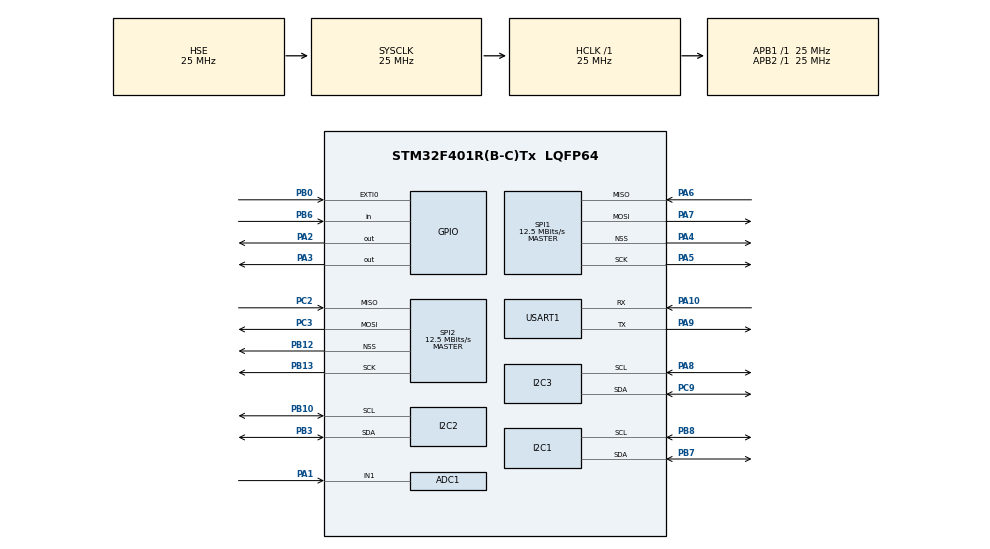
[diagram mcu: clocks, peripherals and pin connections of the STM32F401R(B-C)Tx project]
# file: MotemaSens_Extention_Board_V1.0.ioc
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ADC1.Channel-2\#ChannelRegularConversion=ADC_CHANNEL_1
ADC1.NbrOfConversionFlag=1
ADC1.Rank-2\#ChannelRegularConversion=1
ADC1.SamplingTime-2\#ChannelRegularConversion=ADC_SAMPLETIME_3CYCLES
ADC1.master=1
I2C1.I2C_Mode=I2C_Standard
Mcu.Family=STM32F4
Mcu.Name=STM32F401R(B-C)Tx
Mcu.Package=LQFP64
NVIC.PriorityGroup=NVIC_PRIORITYGROUP_4
PA1.Signal=ADCx_IN1
PA10.Mode=Asynchronous
PA10.Signal=USART1_RX
PA13.Mode=Serial_Wire
PA13.Signal=SYS_JTMS-SWDIO
PA14.Mode=Serial_Wire
PA14.Signal=SYS_JTCK-SWCLK
PA2.Signal=GPIO_Output
PA3.Signal=GPIO_Output
PA4.Mode=NSS_Signal_Hard_Output
PA4.Signal=SPI1_NSS
PA5.Mode=Full_Duplex_Master
PA5.Signal=SPI1_SCK
PA6.Mode=Full_Duplex_Master
PA6.Signal=SPI1_MISO
PA7.Mode=Full_Duplex_Master
PA7.Signal=SPI1_MOSI
PA8.Mode=I2C
PA8.Signal=I2C3_SCL
PA9.Mode=Asynchronous
PA9.Signal=USART1_TX
PB0.Signal=GPXTI0
PB10.Mode=I2C
PB10.Signal=I2C2_SCL
PB12.Mode=NSS_Signal_Hard_Output
PB12.Signal=SPI2_NSS
PB13.Mode=Full_Duplex_Master
PB13.Signal=SPI2_SCK
PB3.Mode=I2C
PB3.Signal=I2C2_SDA
PB6.GPIO_PuPd=GPIO_PULLDOWN
PB6.Mode=GPIO_Input
PB6.Signal=GPIO_Input
PB7.Mode=I2C
PB7.Signal=I2C1_SDA
PB8.Mode=I2C
PB8.Signal=I2C1_SCL
PC2.Mode=Full_Duplex_Master
PC2.Signal=SPI2_MISO
PC3.Mode=Full_Duplex_Master
PC3.Signal=SPI2_MOSI
PC9.Mode=I2C
PC9.Signal=I2C3_SDA
PH0\ -\ OSC_IN.Mode=HSE-External-Oscillator
PH0\ -\ OSC_IN.Signal=RCC_OSC_IN
PH1\ -\ OSC_OUT.Mode=HSE-External-Oscillator
PH1\ -\ OSC_OUT.Signal=RCC_OSC_OUT
ProjectManager.HeapSize=0x200
ProjectManager.StackSize=0x400
ProjectManager.TargetToolchain=MDK-ARM V5
RCC.48MHZClocksFreq_Value=48000000
RCC.AHBFreq_Value=25000000
RCC.APB1Freq_Value=25000000
RCC.APB1TimFreq_Value=25000000
RCC.APB2Freq_Value=25000000
RCC.APB2TimFreq_Value=25000000
RCC.CortexFreq_Value=25000000
RCC.HCLKFreq_Value=25000000
RCC.HSE_VALUE=25000000
RCC.HSI_VALUE=16000000
RCC.LSE_VALUE=32768
RCC.PLLM=15
RCC.PLLN=144
RCC.PLLQ=5
RCC.PLLSourceVirtual=RCC_PLLSOURCE_HSE
RCC.SYSCLKFreq_VALUE=25000000
RCC.SYSCLKSource=RCC_SYSCLKSOURCE_HSE
RCC.VCOOutputFreq_Value=240000000
SH.ADCx_IN1.0=ADC1_IN1,IN1
SPI1.BaudRatePrescaler=SPI_BAUDRATEPRESCALER_2
SPI1.CalculateBaudRate=12.5 MBits/s
SPI1.Direction=SPI_DIRECTION_2LINES
SPI1.Mode=SPI_MODE_MASTER
SPI1.VirtualNSS=VM_NSSHARD
SPI1.VirtualType=VM_MASTER
SPI2.CalculateBaudRate=12.5 MBits/s
SPI2.Direction=SPI_DIRECTION_2LINES
SPI2.Mode=SPI_MODE_MASTER
SPI2.VirtualNSS=VM_NSSHARD
SPI2.VirtualType=VM_MASTER
USART1.VirtualMode=VM_ASYNC
board=custom

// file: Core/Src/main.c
/* USER CODE BEGIN Header */
/**
  ******************************************************************************
  * @file           : main.c
  * @brief          : Main program body
  ******************************************************************************
  * @attention
  *
  * Copyright (c) 2026 STMicroelectronics.
  * All rights reserved.
  *
  * This software is licensed under terms that can be found in the LICENSE file
  * in the root directory of this software component.
  * If no LICENSE file comes with this software, it is provided AS-IS.
  *
  ******************************************************************************
  */
/* USER CODE END Header */
#include "main.h"
#include "adc.h"
#include "i2c.h"
#include "spi.h"
#include "usart.h"
#include "gpio.h"

/* USER CODE BEGIN Includes */
#include <stdio.h>
#include <string.h>
#include "bsp_max30102.h"
#include "bsp_spi_oled.h"
#include "bsp_gd60932.h"
#include "bsp_sd_spi.h"
#include "bsp_sd_log.h"
#include "algorithm.h"
/* USER CODE END Includes */

/* USER CODE BEGIN PD */
/* 12s 周期：0~10s PPG（LED 开）→ 10~12s 关 LED，读体温、刷新显示、写 SD。
 * 12s cycle: 0~10s PPG (LED on) -> 10~12s LED off, read temp, refresh display, write SD.
 * PPG 相位 10s 覆盖 ~2 个呼吸周期，离线验证可显著降低 SpO2 RMSE（见 algorithm.h）。
 * 10s PPG phase covers ~2 breath cycles; offline validation lowers SpO2 RMSE (see algorithm.h). */
#define APP_MEAS_CYCLE_MS              12000U
#define APP_PPG_PHASE_MS               10000U
#define APP_POST_PHASE_MS              (APP_MEAS_CYCLE_MS - APP_PPG_PHASE_MS)
/* MAX30102 原始幅值（18 位有效）：约 <5000 偏弱，>80000 易饱和，见 bsp_max30102 注释
 * MAX30102 raw amplitude (18-bit): <5000 weak, >80000 saturates; see bsp_max30102 comments */
#define APP_PPG_WEAK_MAX               5000U
#define APP_PPG_STRONG_MIN             80000U
/* 红/红外 LED 电流档位(0x00~0xFF)。在 0x14 基础上再略降一档（AGC 初始/回退值）
 * Red/IR LED current level (0x00~0xFF); one step below 0x14 (AGC initial/fallback) */
#define APP_MAX30102_LED_RED           0x13U
#define APP_MAX30102_LED_IR            0x13U

/* 软件 AGC：红=红外电流等比伺服，把 IR 的 DC 拉回标定工作点(~25000)。
 * Software AGC: equal red/IR current servo pulls IR DC to calibration setpoint (~25000).
 * 等比缩放不改变 DC_rd/DC_ir，故 R 与 SpO2 标定仍有效；仅补偿跨会话耦合/贴合差异。
 * Proportional scaling preserves DC_rd/DC_ir, so R/SpO2 calibration stays valid; compensates coupling/contact drift.
 * 死区较宽，良好耦合(20k~32k)时不动，避免抖动；越界才逐步调整。
 * Wide deadband: no change when coupled well (20k~32k); step adjust only when out of range. */
#define APP_AGC_ENABLE                 1
#define APP_AGC_DC_TARGET              25000U   /* 目标 IR DC（=标定工作点）/ target IR DC (=cal setpoint) */
#define APP_AGC_DC_LO                  20000U   /* 死区下限：低于则加大电流 / deadband low: increase current if below */
#define APP_AGC_DC_HI                  32000U   /* 死区上限：高于则减小电流 / deadband high: decrease current if above */
#define APP_AGC_LED_MIN                0x0AU    /* 电流下限(~2mA) / min current (~2mA) */
#define APP_AGC_LED_MAX                0x40U    /* 电流上限(~12.8mA)，确保红光(耦合更高)不饱和 / max (~12.8mA), avoid red saturation */
#define APP_AGC_MAX_STEP               6        /* 每周期最大调整步长，防止过冲/振荡 / max step per cycle, anti-overshoot */
/* PB6 接 3.3V 判为关机请求的去抖时间（内部下拉，悬空为低）
 * PB6 debounce when tied to 3.3V = shutdown request (internal pull-down, floating = low) */
#define APP_PWR_SW_DEBOUNCE_MS         80U
/* 血氧阶段结束时至少多少点才调用算法（不必凑满 BUFFER_SIZE）
 * Min samples at end of SpO2 phase before running algorithm (need not fill BUFFER_SIZE) */
#define APP_PPG_MIN_SAMPLES            100U
/* FIFO 读循环中每隔多少点刷新一次 OLED（减轻主循环负担）
 * OLED refresh interval in FIFO read loop (reduces main-loop load) */
#define APP_PPG_OLED_UPDATE_INTERVAL   8U
/* USER CODE END PD */

/* USER CODE BEGIN PV */
static uint32_t g_ir_buffer[BUFFER_SIZE];
static uint32_t g_red_buffer[BUFFER_SIZE];
static int32_t g_heart_rate = 0;
static int8_t g_hr_valid = 0;
static int32_t g_spo2 = 0;
static int8_t g_spo2_valid = 0;
static float g_body_temp = 0.0f;
static uint8_t g_body_temp_valid = 0U;
static uint32_t s_meas_cycle_t0 = 0U;
static uint8_t s_cycle_led_off_done = 0U;
static uint8_t s_cycle_temp_done = 0U;
static uint8_t s_spo2_computed_this_cycle = 0U;
static uint32_t s_last_ir_sample = 0U;
static uint32_t s_pwr_high_since = 0U;
static uint8_t s_meas_resync_after_stop_wakeup = 0U;
static uint32_t s_cycle_index = 0U;
static uint16_t s_cycle_ppg_count = 0U;
static uint8_t s_cycle_sd_logged = 0U;
static uint32_t s_log_ir_snapshot[BUFFER_SIZE];
static uint32_t s_log_red_snapshot[BUFFER_SIZE];
static uint16_t s_log_ppg_snapshot = 0U;
static int32_t s_hr_fifo[HR_FIFO_SIZE];
static uint8_t s_hr_fifo_count = 0U;
static uint8_t s_hr_fifo_idx = 0U;
/* SpO2 跨周期中值平滑：胸贴单周期 R 仍有残余噪声，离线验证 5 点中值可将 RMSE 0.97->0.82
 * Cross-cycle SpO2 median filter: 5-point median lowers RMSE 0.97->0.82 (offline validation) */
#define SPO2_FIFO_SIZE 5
static int32_t s_spo2_fifo[SPO2_FIFO_SIZE];
static uint8_t s_spo2_fifo_count = 0U;
static uint8_t s_spo2_fifo_idx = 0U;
/* 软件 AGC 当前 LED 电流档位（红=红外共用），初值为标定电流
 * Current software AGC LED level (red=IR shared); initial = calibration current */
static uint8_t s_agc_led_pa = APP_MAX30102_LED_RED;
/* USER CODE END PV */

void SystemClock_Config(void);
/* USER CODE BEGIN PFP */
static void App_DisplayTitle(void);
static void App_UpdateLedStatusDisplay(uint8_t led_on);
static void App_UpdateDisplay(int32_t hr, int8_t hr_valid, int32_t spo2, int8_t spo2_valid, uint32_t ir_sample);
static uint8_t App_MAX30102_Probe(uint8_t *part_id);
static float App_ReadBatteryVoltage(void);
static void App_UpdateTemperatureDisplay(float temp_c, uint8_t valid);
static void App_UpdatePpgLevelDisplay(uint32_t ir_raw, uint32_t red_raw, uint8_t led_on);
static void App_ScanI2C2(void);
static void App_EnterStopFromPowerSwitch(void);
static void App_RestorePb6PowerSensePin(void);
static void App_ComputePpgMetrics(uint16_t n_samples);
static int32_t App_SmoothHeartRate(int32_t hr, int8_t hr_valid);
static int32_t App_SmoothSpo2(int32_t spo2, int8_t spo2_valid);
static void App_UpdateAgc(uint32_t mean_ir);
/* USER CODE END PFP */

/* USER CODE BEGIN 0 */
static void App_RestorePb6PowerSensePin(void)
{
  GPIO_InitTypeDef g = {0};
  g.Pin = GPIO_PIN_6;
  g.Mode = GPIO_MODE_INPUT;
  g.Pull = GPIO_PULLDOWN;
  g.Speed = GPIO_SPEED_FREQ_LOW;
  HAL_GPIO_Init(GPIOB, &g);
}

static void App_EnterStopFromPowerSwitch(void)
{
  GPIO_InitTypeDef g = {0};
  /* 下降沿唤醒：外部撤掉 3.3V 后内部下拉将 PB6 拉低
   * Wake on falling edge: after 3.3V removed, internal pull-down pulls PB6 low */
  g.Pin = GPIO_PIN_6;
  g.Mode = GPIO_MODE_IT_FALLING;
  g.Pull = GPIO_PULLDOWN;
  g.Speed = GPIO_SPEED_FREQ_LOW;
  HAL_GPIO_Init(GPIOB, &g);
  HAL_NVIC_SetPriority(EXTI9_5_IRQn, 6, 0);
  HAL_NVIC_EnableIRQ(EXTI9_5_IRQn);
  __HAL_GPIO_EXTI_CLEAR_IT(GPIO_PIN_6);

  (void)MAX30102_SetLEDCurrent(0U, 0U);
  OLED_CLS();

  /* STOP 后 HSE/PLL 停振，唤醒须重配时钟；若板级直接断电则不会执行到这里
   * HSE/PLL stop after STOP; wake requires clock reconfig; skipped if board powers off */
  HAL_SuspendTick();
  HAL_PWR_EnterSTOPMode(PWR_MAINREGULATOR_ON, PWR_STOPENTRY_WFI);
  HAL_ResumeTick();

  HAL_NVIC_DisableIRQ(EXTI9_5_IRQn);
  App_RestorePb6PowerSensePin();
  __HAL_GPIO_EXTI_CLEAR_IT(GPIO_PIN_6);
  SystemClock_Config();
  s_meas_resync_after_stop_wakeup = 1U;
}

static void App_UpdateLedStatusDisplay(uint8_t led_on)
{
  char line[24];

  if (led_on != 0U)
  {
    /* 显示当前 AGC 电流档位，便于现场观察 AGC 是否调整
     * Show current AGC LED level for field observation */
    (void)snprintf(line, sizeof(line), "LED ON PA=%02X    ", (unsigned int)s_agc_led_pa);
    OLED_ShowStr(0, 0, (unsigned char *)line, 1);
  }
  else
  {
    (void)snprintf(line, sizeof(line), "LED OFF PA=%02X   ", (unsigned int)s_agc_led_pa);
    OLED_ShowStr(0, 0, (unsigned char *)line, 1);
  }
}

static void App_DisplayTitle(void)
{
  OLED_CLS();
  App_UpdateLedStatusDisplay(0U);
  OLED_ShowStr(0, 2, (unsigned char *)"HR:", 1);
  OLED_ShowStr(0, 3, (unsigned char *)"SpO2:", 1);
}

static void App_UpdateDisplay(int32_t hr, int8_t hr_valid, int32_t spo2, int8_t spo2_valid, uint32_t ir_sample)
{
  char line_hr[24];
  char line_spo2[24];

  if (ir_sample < 15000U)
  {
    OLED_ShowStr(0, 6, (unsigned char *)"Place        ", 1);
    return;
  }

  OLED_ShowStr(0, 6, (unsigned char *)"Body detected   ", 1);

  if ((hr_valid != 0) && (hr >= MIN_HR) && (hr <= MAX_HR))
  {
    (void)snprintf(line_hr, sizeof(line_hr), "%3ld bpm   ", (long)hr);
  }
  else
  {
    (void)snprintf(line_hr, sizeof(line_hr), "--- bpm   ");
  }

  if (spo2_valid != 0)
  {
    (void)snprintf(line_spo2, sizeof(line_spo2), "%3ld %%    ", (long)spo2);
  }
  else
  {
    (void)snprintf(line_spo2, sizeof(line_spo2), "--- %%    ");
  }

  OLED_ShowStr(24, 2, (unsigned char *)line_hr, 1);
  OLED_ShowStr(36, 3, (unsigned char *)line_spo2, 1);
}

static uint8_t App_MAX30102_Probe(uint8_t *part_id)
{
  uint8_t id = 0;
  if (MAX30102_ReadReg(REG_PART_ID, &id) != 0U)
  {
    return 0U;
  }

  *part_id = id;
  return 1U;
}

static float App_ReadBatteryVoltage(void)
{
  uint32_t sum = 0U;
  uint16_t sample = 0U;
  uint8_t i = 0U;
  float v_adc = 0.0f;

  for (i = 0U; i < 8U; i++)
  {
    if (HAL_ADC_Start(&hadc1) != HAL_OK)
    {
      continue;
    }

    if (HAL_ADC_PollForConversion(&hadc1, 10U) == HAL_OK)
    {
      sample = (uint16_t)HAL_ADC_GetValue(&hadc1);
      sum += sample;
    }

    (void)HAL_ADC_Stop(&hadc1);
  }

  sample = (uint16_t)(sum / 8U);
  v_adc = ((float)sample * 3.3f) / 4095.0f;

  /* 分压电阻 100k:100k，电池电压为采样点电压的 2 倍
   * Divider 100k:100k; battery voltage = 2x ADC node voltage */
  return v_adc * 2.0f;
}

static void App_UpdateTemperatureDisplay(float temp_c, uint8_t valid)
{
  char temp_line[24];

  if (valid != 0U)
  {
    (void)snprintf(temp_line, sizeof(temp_line), "TEMP: %.1fC   ", temp_c);
  }
  else
  {
    (void)snprintf(temp_line, sizeof(temp_line), "TEMP: --.-C   ");
  }

  OLED_ShowStr(0, 1, (unsigned char *)temp_line, 1);
}

static void App_UpdatePpgLevelDisplay(uint32_t ir_raw, uint32_t red_raw, uint8_t led_on)
{
  char line1[24];
  char line2[24];
  char ir_tag;
  char rd_tag;

  App_UpdateLedStatusDisplay(led_on);

  if (led_on == 0U)
  {
    OLED_ShowStr(0, 4, (unsigned char *)"IR: ---          ", 1);
    OLED_ShowStr(0, 5, (unsigned char *)"RD: ---          ", 1);
    return;
  }

  ir_tag = (ir_raw < APP_PPG_WEAK_MAX) ? 'L' : ((ir_raw > APP_PPG_STRONG_MIN) ? 'H' : ' ');
  rd_tag = (red_raw < APP_PPG_WEAK_MAX) ? 'L' : ((red_raw > APP_PPG_STRONG_MIN) ? 'H' : ' ');

  (void)snprintf(line1, sizeof(line1), "IR:%6lu %c", (unsigned long)ir_raw, ir_tag);
  (void)snprintf(line2, sizeof(line2), "RD:%6lu %c", (unsigned long)red_raw, rd_tag);
  OLED_ShowStr(0, 4, (unsigned char *)line1, 1);
  OLED_ShowStr(0, 5, (unsigned char *)line2, 1);
}

static int32_t App_SmoothHeartRate(int32_t hr, int8_t hr_valid)
{
  int32_t buf[HR_FIFO_SIZE];
  uint8_t i;
  uint8_t n;
  uint8_t j;
  int32_t t;

  if (hr_valid == 0)
  {
    return hr;
  }

#if ALGO_CHEST_MODE
  if ((hr < ALGO_CHEST_HR_PLAUSIBLE_LO) || (hr > ALGO_CHEST_HR_PLAUSIBLE_HI))
  {
    return hr;
  }
#endif

  s_hr_fifo[s_hr_fifo_idx] = hr;
  s_hr_fifo_idx = (uint8_t)((s_hr_fifo_idx + 1U) % HR_FIFO_SIZE);
  if (s_hr_fifo_count < HR_FIFO_SIZE)
  {
    s_hr_fifo_count++;
  }

  n = s_hr_fifo_count;
  for (i = 0U; i < n; i++)
  {
    uint8_t pos = (uint8_t)((s_hr_fifo_idx + HR_FIFO_SIZE - n + i) % HR_FIFO_SIZE);
    buf[i] = s_hr_fifo[pos];
  }

  for (i = 1U; i < n; i++)
  {
    t = buf[i];
    for (j = i; (j > 0U) && (t < buf[j - 1U]); j--)
    {
      buf[j] = buf[j - 1U];
    }
    buf[j] = t;
  }

  return buf[n / 2U];
}

static int32_t App_SmoothSpo2(int32_t spo2, int8_t spo2_valid)
{
  int32_t buf[SPO2_FIFO_SIZE];
  uint8_t i;
  uint8_t n;
  uint8_t j;
  int32_t t;

  if (spo2_valid == 0)
  {
    return spo2;
  }

  s_spo2_fifo[s_spo2_fifo_idx] = spo2;
  s_spo2_fifo_idx = (uint8_t)((s_spo2_fifo_idx + 1U) % SPO2_FIFO_SIZE);
  if (s_spo2_fifo_count < SPO2_FIFO_SIZE)
  {
    s_spo2_fifo_count++;
  }

  n = s_spo2_fifo_count;
  for (i = 0U; i < n; i++)
  {
    uint8_t pos = (uint8_t)((s_spo2_fifo_idx + SPO2_FIFO_SIZE - n + i) % SPO2_FIFO_SIZE);
    buf[i] = s_spo2_fifo[pos];
  }

  for (i = 1U; i < n; i++)
  {
    t = buf[i];
    for (j = i; (j > 0U) && (t < buf[j - 1U]); j--)
    {
      buf[j] = buf[j - 1U];
    }
    buf[j] = t;
  }

  return buf[n / 2U];
}

static void App_UpdateAgc(uint32_t mean_ir)
{
#if APP_AGC_ENABLE
  int32_t pa = (int32_t)s_agc_led_pa;
  int32_t new_pa;
  int32_t step;

  /* 无有效均值或已在死区内则保持不变（良好耦合不抖动）
   * Hold if no valid mean or inside deadband (good coupling, no jitter) */
  if (mean_ir == 0U)
  {
    return;
  }
  if ((mean_ir >= APP_AGC_DC_LO) && (mean_ir <= APP_AGC_DC_HI))
  {
    return;
  }

  /* 比例伺服：DC 正比于电流，故 new_pa = pa * target / mean_ir
   * Proportional servo: DC ~ current, so new_pa = pa * target / mean_ir */
  new_pa = (int32_t)(((uint64_t)pa * (uint64_t)APP_AGC_DC_TARGET) / (uint64_t)mean_ir);
  step = new_pa - pa;
  if (step > APP_AGC_MAX_STEP)
  {
    step = APP_AGC_MAX_STEP;
  }
  else if (step < -APP_AGC_MAX_STEP)
  {
    step = -APP_AGC_MAX_STEP;
  }
  pa += step;

  if (pa < (int32_t)APP_AGC_LED_MIN)
  {
    pa = (int32_t)APP_AGC_LED_MIN;
  }
  else if (pa > (int32_t)APP_AGC_LED_MAX)
  {
    pa = (int32_t)APP_AGC_LED_MAX;
  }
  s_agc_led_pa = (uint8_t)pa;
#else
  (void)mean_ir;
#endif
}

static void App_ComputePpgMetrics(uint16_t n_samples)
{
  int32_t hr_raw = 0;

  if (n_samples < APP_PPG_MIN_SAMPLES)
  {
    g_hr_valid = 0;
    g_spo2_valid = 0;
    return;
  }

#if APP_AGC_ENABLE
  {
    /* 用本周期 IR 均值(≈DC)更新 AGC，下一周期生效
     * Update AGC from this cycle's IR mean (~DC); takes effect next cycle */
    uint32_t k;
    uint64_t sum_ir = 0U;
    for (k = 0U; k < n_samples; k++)
    {
      sum_ir += g_ir_buffer[k];
    }
    App_UpdateAgc((uint32_t)(sum_ir / n_samples));
  }
#endif

  maxim_heart_rate_and_oxygen_saturation(g_ir_buffer, (int32_t)n_samples,
                                         g_red_buffer, &g_spo2, &g_spo2_valid,
                                         &hr_raw, &g_hr_valid);
  if (g_hr_valid != 0)
  {
    g_heart_rate = App_SmoothHeartRate(hr_raw, 1);
  }
  else
  {
    g_heart_rate = hr_raw;
  }

  if (g_spo2_valid != 0)
  {
    g_spo2 = App_SmoothSpo2(g_spo2, 1);
  }

  App_UpdateDisplay(g_heart_rate, g_hr_valid, g_spo2, g_spo2_valid, s_last_ir_sample);
  s_spo2_computed_this_cycle = 1U;
}

static void App_ScanI2C2(void)
{
  uint8_t probe_list[2] = {0x30U, 0x32U};
  uint8_t i = 0U;

  /* 仅探测体温芯片可能地址，避免全地址扫描阻塞主循环
   * Probe only likely temp-sensor addresses; avoid full I2C scan blocking main loop */
  for (i = 0U; i < 2U; i++)
  {
    (void)HAL_I2C_IsDeviceReady(&hi2c2, probe_list[i], 1, 5U);
  }
}

/* USER CODE END 0 */

int main(void)
{

  /* MCU Configuration--------------------------------------------------------*/

  /* Reset of all peripherals, Initializes the Flash interface and the Systick. */
  HAL_Init();

  /* Configure the system clock */
  SystemClock_Config();

  /* Initialize all configured peripherals */
  MX_GPIO_Init();
  MX_I2C1_Init();
  MX_SPI1_Init();
  MX_USART1_UART_Init();
  MX_I2C2_Init();
  MX_I2C3_Init();
  MX_SPI2_Init();
  MX_ADC1_Init();
  /* USER CODE BEGIN 2 */
  Bsp_SPI_OLED_Init();
  OLED_Init();

  Bsp_MAX30102_Init();
  MAX30102_SetLEDCurrent(s_agc_led_pa, s_agc_led_pa);
  App_ScanI2C2();
  (void)GD60932_Init();
  HAL_Delay(100);

  {
    uint8_t part_id = 0;
    char line[24];

    OLED_CLS();
    OLED_ShowStr(0, 0, (unsigned char *)"Boot Self Test", 1);
    OLED_ShowStr(0, 2, (unsigned char *)"OLED: OK", 1);

    if (App_MAX30102_Probe(&part_id) != 0U)
    {
      (void)snprintf(line, sizeof(line), "MAX:OK ID=0x%02X", part_id);
      OLED_ShowStr(0, 3, (unsigned char *)line, 1);
    }
    else
    {
      OLED_ShowStr(0, 3, (unsigned char *)"MAX: FAIL", 1);
      OLED_ShowStr(0, 5, (unsigned char *)"Check PB8/PB7", 1);
      OLED_ShowStr(0, 6, (unsigned char *)"and power 3V3", 1);
    }

    if (SD_Init() == SD_OK)
    {
      SD_CardInfo_t sd_info;
      if (SD_GetCardInfo(&sd_info) == SD_OK)
      {
        uint32_t mb = (uint32_t)(sd_info.capacity_bytes / (1024ULL * 1024ULL));
        (void)snprintf(line, sizeof(line), "SD:OK %luMB", (unsigned long)mb);
      }
      else
      {
        (void)snprintf(line, sizeof(line), "SD: OK");
      }
      OLED_ShowStr(0, 4, (unsigned char *)line, 1);
      (void)SD_Log_Init();
    }
    else
    {
      OLED_ShowStr(0, 4, (unsigned char *)"SD: FAIL", 1);
    }
  }

  HAL_Delay(1200);
  App_DisplayTitle();
  App_UpdateTemperatureDisplay(0.0f, 0U);
  App_UpdatePpgLevelDisplay(0U, 0U, 0U);

  /* USER CODE END 2 */

  /* Infinite loop */
  while (1)
  {

    /* USER CODE BEGIN 3 */
    uint32_t red_sample = 0;
    uint32_t ir_sample = 0;
    static uint16_t sample_index = 0;
    uint32_t now_ms = HAL_GetTick();
    uint32_t dt = 0U;

    if (HAL_GPIO_ReadPin(GPIOB, GPIO_PIN_6) == GPIO_PIN_SET)
    {
      if (s_pwr_high_since == 0U)
      {
        s_pwr_high_since = now_ms;
      }
      else if ((now_ms - s_pwr_high_since) >= APP_PWR_SW_DEBOUNCE_MS)
      {
        App_EnterStopFromPowerSwitch();
        s_pwr_high_since = 0U;
      }
    }
    else
    {
      s_pwr_high_since = 0U;
    }

    if (s_meas_resync_after_stop_wakeup != 0U)
    {
      s_meas_resync_after_stop_wakeup = 0U;
      s_meas_cycle_t0 = 0U;
      s_cycle_led_off_done = 0U;
      s_cycle_temp_done = 0U;
      s_spo2_computed_this_cycle = 0U;
      s_cycle_sd_logged = 0U;
      s_last_ir_sample = 0U;
      s_cycle_ppg_count = 0U;
      s_hr_fifo_count = 0U;
      s_hr_fifo_idx = 0U;
      /* 唤醒后重新开始测量，清空 SpO2 跨周期平滑（避免休眠前的旧值串入）
       * After wake: restart measurement, clear SpO2 median filter (avoid stale pre-sleep values) */
      s_spo2_fifo_count = 0U;
      s_spo2_fifo_idx = 0U;
      /* 唤醒后重置 AGC 到标定电流，重新收敛（贴合可能已变）
       * After wake: reset AGC to calibration current (contact may have changed) */
      s_agc_led_pa = APP_MAX30102_LED_RED;
      sample_index = 0U;
      (void)MAX30102_SetLEDCurrent(s_agc_led_pa, s_agc_led_pa);
      App_DisplayTitle();
      App_UpdateTemperatureDisplay(0.0f, 0U);
      App_UpdatePpgLevelDisplay(0U, 0U, 1U);
    }

    if (s_meas_cycle_t0 == 0U)
    {
      s_meas_cycle_t0 = now_ms;
    }

    dt = now_ms - s_meas_cycle_t0;

    if (dt >= APP_MEAS_CYCLE_MS)
    {
      s_meas_cycle_t0 = now_ms;
      s_cycle_led_off_done = 0U;
      s_cycle_temp_done = 0U;
      s_spo2_computed_this_cycle = 0U;
      s_cycle_sd_logged = 0U;
      s_cycle_ppg_count = 0U;
      s_hr_fifo_count = 0U;
      s_hr_fifo_idx = 0U;
      sample_index = 0U;
      /* 应用上一周期 AGC 收敛后的电流（红=红外，保持 R 标定有效）
       * Apply AGC-converged current from last cycle (red=IR, preserves R calibration) */
      (void)MAX30102_SetLEDCurrent(s_agc_led_pa, s_agc_led_pa);
      dt = 0U;
      App_UpdatePpgLevelDisplay(0U, 0U, 1U);
    }

    if (dt < APP_MEAS_CYCLE_MS)
    {
      /* 0~6s：采 PPG；满 BUFFER_SIZE 可提前算；6s 关灯并快照
       * 0~6s: acquire PPG; compute early if BUFFER_SIZE full; at 6s turn off LED and snapshot */
      if (s_cycle_led_off_done == 0U)
      {
        if (sample_index < BUFFER_SIZE)
        {
          uint8_t fifo_burst = 0U;
          while ((fifo_burst < 48U) && (MAX30102_CheckFIFOStatus() != 0U))
          {
            if (MAX30102_ReadFIFO(&red_sample, &ir_sample) != 0U)
            {
              break;
            }
            fifo_burst++;
            s_last_ir_sample = ir_sample;
            if (((sample_index + 1U) % APP_PPG_OLED_UPDATE_INTERVAL) == 0U)
            {
              App_UpdatePpgLevelDisplay(ir_sample, red_sample, 1U);
            }
            g_red_buffer[sample_index] = red_sample;
            g_ir_buffer[sample_index] = ir_sample;
            sample_index++;
            if (sample_index >= BUFFER_SIZE)
            {
              break;
            }
          }
        }

        if ((sample_index >= BUFFER_SIZE) && (s_spo2_computed_this_cycle == 0U))
        {
          App_ComputePpgMetrics(BUFFER_SIZE);
        }

        if (dt >= APP_PPG_PHASE_MS)
        {
          s_cycle_ppg_count = sample_index;
          if (s_spo2_computed_this_cycle == 0U)
          {
            App_ComputePpgMetrics(sample_index);
          }
          s_log_ppg_snapshot = s_cycle_ppg_count;
          if (s_log_ppg_snapshot > 0U)
          {
            (void)memcpy(s_log_ir_snapshot, g_ir_buffer,
                         (size_t)s_log_ppg_snapshot * sizeof(uint32_t));
            (void)memcpy(s_log_red_snapshot, g_red_buffer,
                         (size_t)s_log_ppg_snapshot * sizeof(uint32_t));
          }
          sample_index = 0U;
          (void)MAX30102_SetLEDCurrent(0U, 0U);
          s_cycle_led_off_done = 1U;
          App_UpdatePpgLevelDisplay(0U, 0U, 0U);
        }
      }
      /* 6~8s：关 LED 后读体温、刷新 HR/SpO2/体温、写 SD（不占用下一周期 PPG）
       * 6~8s: after LED off, read temp, refresh HR/SpO2/temp, write SD (no next-cycle PPG overlap) */
      else if (dt < (APP_PPG_PHASE_MS + APP_POST_PHASE_MS))
      {
        if (s_cycle_temp_done == 0U)
        {
          if (GD60932_ReadBodyTemperature(&g_body_temp) == GD60932_OK)
          {
            g_body_temp_valid = 1U;
          }
          else
          {
            g_body_temp_valid = 0U;
          }
          App_UpdateTemperatureDisplay(g_body_temp, g_body_temp_valid);
          App_UpdateDisplay(g_heart_rate, g_hr_valid, g_spo2, g_spo2_valid, s_last_ir_sample);
          s_cycle_temp_done = 1U;
        }

        if ((s_cycle_temp_done != 0U) && (s_cycle_sd_logged == 0U))
        {
          if (SD_Log_IsReady() != 0U)
          {
            (void)SD_Log_WriteCycle(s_cycle_index,
                                    APP_MEAS_CYCLE_MS,
                                    g_heart_rate,
                                    g_hr_valid,
                                    g_spo2,
                                    g_spo2_valid,
                                    g_body_temp,
                                    g_body_temp_valid,
                                    s_log_ir_snapshot,
                                    s_log_red_snapshot,
                                    s_log_ppg_snapshot);
            s_cycle_index++;
          }
          s_cycle_sd_logged = 1U;
        }
      }
    }

    {
      static uint32_t last_batt_ms = 0U;
      if ((now_ms - last_batt_ms) >= 500U)
      {
        char batt_line[24];
        float batt_v = App_ReadBatteryVoltage();
        (void)snprintf(batt_line, sizeof(batt_line), "BAT: %.2fV   ", batt_v);
        OLED_ShowStr(0, 7, (unsigned char *)batt_line, 1);
        last_batt_ms = now_ms;
      }
    }

    HAL_Delay(10);
  }
  /* USER CODE END 3 */
}

void SystemClock_Config(void)
{
  RCC_OscInitTypeDef RCC_OscInitStruct = {0};
  RCC_ClkInitTypeDef RCC_ClkInitStruct = {0};

  /** Configure the main internal regulator output voltage
  */
  __HAL_RCC_PWR_CLK_ENABLE();
  __HAL_PWR_VOLTAGESCALING_CONFIG(PWR_REGULATOR_VOLTAGE_SCALE2);

  /** Initializes the RCC Oscillators according to the specified parameters
  * in the RCC_OscInitTypeDef structure.
  */
  RCC_OscInitStruct.OscillatorType = RCC_OSCILLATORTYPE_HSE;
  RCC_OscInitStruct.HSEState = RCC_HSE_ON;
  RCC_OscInitStruct.PLL.PLLState = RCC_PLL_NONE;
  if (HAL_RCC_OscConfig(&RCC_OscInitStruct) != HAL_OK)
  {
    Error_Handler();
  }

  /** Initializes the CPU, AHB and APB buses clocks
  */
  RCC_ClkInitStruct.ClockType = RCC_CLOCKTYPE_HCLK|RCC_CLOCKTYPE_SYSCLK
                              |RCC_CLOCKTYPE_PCLK1|RCC_CLOCKTYPE_PCLK2;
  RCC_ClkInitStruct.SYSCLKSource = RCC_SYSCLKSOURCE_HSE;
  RCC_ClkInitStruct.AHBCLKDivider = RCC_SYSCLK_DIV1;
  RCC_ClkInitStruct.APB1CLKDivider = RCC_HCLK_DIV1;
  RCC_ClkInitStruct.APB2CLKDivider = RCC_HCLK_DIV1;

  if (HAL_RCC_ClockConfig(&RCC_ClkInitStruct, FLASH_LATENCY_0) != HAL_OK)
  {
    Error_Handler();
  }
}

void Error_Handler(void)
{
  __disable_irq();
  while (1)
  {
  }
}
